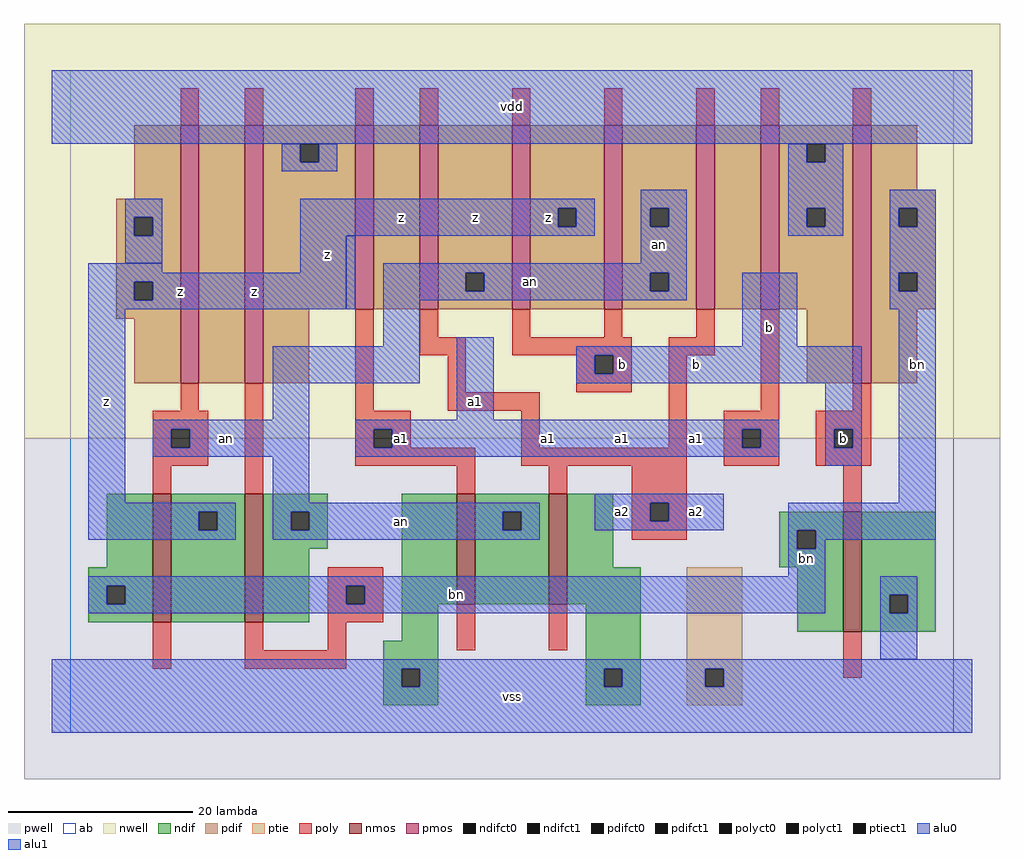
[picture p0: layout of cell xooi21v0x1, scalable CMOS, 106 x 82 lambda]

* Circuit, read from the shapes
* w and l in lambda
.subckt xooi21v0x1 a1 a2 an b bn vdd vss z
M1 z an bn vss nfet w=14 l=2
M2 an bn z vss nfet w=14 l=2
M3 an a1 vss vss nfet w=12 l=2
M4 vss a2 an vss nfet w=12 l=2
M5 vss b bn vss nfet w=13 l=2
M6 n1 an z n2 pfet w=28 l=2
M7 vdd bn n1 n2 pfet w=28 l=2
M8 n3 a1 vdd n2 pfet w=20 l=2
M9 an a2 n3 n2 pfet w=20 l=2
M10 z b an n2 pfet w=20 l=2 m=2
M11 n4 a2 an n2 pfet w=20 l=2
M12 vdd a1 n4 n2 pfet w=20 l=2
M13 bn b vdd n2 pfet w=28 l=2
.ends

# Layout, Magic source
magic
tech scmos
<< ab >>
rect 0 0 96 72
<< nwell >>
rect -5 32 101 77
<< pwell >>
rect -5 -5 101 32
<< poly >>
rect 12 66 14 70
rect 19 66 21 70
rect 31 66 33 70
rect 38 66 40 70
rect 48 66 50 70
rect 58 66 60 70
rect 68 66 70 70
rect 75 66 77 70
rect 85 66 87 70
rect 12 35 14 38
rect 9 33 15 35
rect 9 31 11 33
rect 13 31 15 33
rect 9 29 15 31
rect 9 26 11 29
rect 19 26 21 38
rect 31 35 33 46
rect 38 43 40 46
rect 48 43 50 46
rect 58 43 60 46
rect 68 43 70 46
rect 38 41 43 43
rect 48 41 61 43
rect 41 37 43 41
rect 55 39 57 41
rect 59 39 61 41
rect 55 37 61 39
rect 65 41 70 43
rect 41 35 51 37
rect 31 33 37 35
rect 31 31 33 33
rect 35 31 37 33
rect 49 31 51 35
rect 65 31 67 41
rect 75 35 77 46
rect 85 35 87 38
rect 31 29 44 31
rect 49 29 67 31
rect 71 33 77 35
rect 71 31 73 33
rect 75 31 77 33
rect 71 29 77 31
rect 81 33 87 35
rect 81 31 83 33
rect 85 31 87 33
rect 81 29 87 31
rect 42 26 44 29
rect 52 26 54 29
rect 28 16 34 18
rect 28 14 30 16
rect 32 14 34 16
rect 28 12 34 14
rect 61 25 67 29
rect 61 23 63 25
rect 65 23 67 25
rect 84 24 86 29
rect 61 21 67 23
rect 9 7 11 12
rect 19 9 21 12
rect 28 9 30 12
rect 19 7 30 9
rect 42 9 44 14
rect 52 9 54 14
rect 84 6 86 11
<< ndif >>
rect 4 18 9 26
rect 2 16 9 18
rect 2 14 4 16
rect 6 14 9 16
rect 2 12 9 14
rect 11 24 19 26
rect 11 22 14 24
rect 16 22 19 24
rect 11 12 19 22
rect 21 24 28 26
rect 21 22 24 24
rect 26 22 28 24
rect 21 20 28 22
rect 21 12 26 20
rect 36 14 42 26
rect 44 24 52 26
rect 44 22 47 24
rect 49 22 52 24
rect 44 14 52 22
rect 54 18 59 26
rect 77 22 84 24
rect 77 20 79 22
rect 81 20 84 22
rect 77 18 84 20
rect 54 14 62 18
rect 36 10 40 14
rect 34 7 40 10
rect 34 5 36 7
rect 38 5 40 7
rect 34 3 40 5
rect 56 7 62 14
rect 56 5 58 7
rect 60 5 62 7
rect 56 3 62 5
rect 79 11 84 18
rect 86 15 94 24
rect 86 13 89 15
rect 91 13 94 15
rect 86 11 94 13
<< pdif >>
rect 7 58 12 66
rect 5 56 12 58
rect 5 54 7 56
rect 9 54 12 56
rect 5 49 12 54
rect 5 47 7 49
rect 9 47 12 49
rect 5 45 12 47
rect 7 38 12 45
rect 14 38 19 66
rect 21 64 31 66
rect 21 62 25 64
rect 27 62 31 64
rect 21 46 31 62
rect 33 46 38 66
rect 40 50 48 66
rect 40 48 43 50
rect 45 48 48 50
rect 40 46 48 48
rect 50 57 58 66
rect 50 55 53 57
rect 55 55 58 57
rect 50 46 58 55
rect 60 57 68 66
rect 60 55 63 57
rect 65 55 68 57
rect 60 50 68 55
rect 60 48 63 50
rect 65 48 68 50
rect 60 46 68 48
rect 70 46 75 66
rect 77 64 85 66
rect 77 62 80 64
rect 82 62 85 64
rect 77 57 85 62
rect 77 55 80 57
rect 82 55 85 57
rect 77 46 85 55
rect 21 38 26 46
rect 80 38 85 46
rect 87 59 92 66
rect 87 57 94 59
rect 87 55 90 57
rect 92 55 94 57
rect 87 50 94 55
rect 87 48 90 50
rect 92 48 94 50
rect 87 46 94 48
rect 87 38 92 46
<< alu1 >>
rect -2 64 98 72
rect 2 50 10 51
rect 25 57 57 58
rect 25 55 53 57
rect 55 55 57 57
rect 25 54 57 55
rect 25 50 30 54
rect 2 49 30 50
rect 2 47 7 49
rect 9 47 30 49
rect 2 46 30 47
rect 2 25 6 46
rect 42 34 46 43
rect 73 42 79 50
rect 55 41 86 42
rect 55 39 57 41
rect 59 39 86 41
rect 55 38 86 39
rect 31 33 77 34
rect 31 31 33 33
rect 35 31 73 33
rect 75 31 77 33
rect 31 30 77 31
rect 82 33 86 38
rect 82 31 83 33
rect 85 31 86 33
rect 82 29 86 31
rect 57 25 71 26
rect 2 24 18 25
rect 2 22 14 24
rect 16 22 18 24
rect 2 21 18 22
rect 57 23 63 25
rect 65 23 71 25
rect 57 22 71 23
rect -2 7 98 8
rect -2 5 36 7
rect 38 5 58 7
rect 60 5 69 7
rect 71 5 98 7
rect -2 0 98 5
<< ptie >>
rect 67 7 73 18
rect 67 5 69 7
rect 71 5 73 7
rect 67 3 73 5
<< nmos >>
rect 9 12 11 26
rect 19 12 21 26
rect 42 14 44 26
rect 52 14 54 26
rect 84 11 86 24
<< pmos >>
rect 12 38 14 66
rect 19 38 21 66
rect 31 46 33 66
rect 38 46 40 66
rect 48 46 50 66
rect 58 46 60 66
rect 68 46 70 66
rect 75 46 77 66
rect 85 38 87 66
<< polyct0 >>
rect 11 31 13 33
rect 30 14 32 16
<< polyct1 >>
rect 57 39 59 41
rect 33 31 35 33
rect 73 31 75 33
rect 83 31 85 33
rect 63 23 65 25
<< ndifct0 >>
rect 4 14 6 16
rect 24 22 26 24
rect 47 22 49 24
rect 79 20 81 22
rect 89 13 91 15
<< ndifct1 >>
rect 14 22 16 24
rect 36 5 38 7
rect 58 5 60 7
<< ptiect1 >>
rect 69 5 71 7
<< pdifct0 >>
rect 7 54 9 56
rect 25 62 27 64
rect 43 48 45 50
rect 63 55 65 57
rect 63 48 65 50
rect 80 62 82 64
rect 80 55 82 57
rect 90 55 92 57
rect 90 48 92 50
<< pdifct1 >>
rect 7 47 9 49
rect 53 55 55 57
<< alu0 >>
rect 23 62 25 64
rect 27 62 29 64
rect 23 61 29 62
rect 78 62 80 64
rect 82 62 84 64
rect 6 56 10 58
rect 6 54 7 56
rect 9 54 10 56
rect 6 51 10 54
rect 62 57 67 59
rect 62 55 63 57
rect 65 55 67 57
rect 30 46 31 54
rect 62 51 67 55
rect 78 57 84 62
rect 78 55 80 57
rect 82 55 84 57
rect 78 54 84 55
rect 89 57 94 59
rect 89 55 90 57
rect 92 55 94 57
rect 34 50 67 51
rect 89 50 94 55
rect 34 48 43 50
rect 45 48 63 50
rect 65 48 67 50
rect 34 47 67 48
rect 34 42 38 47
rect 22 38 38 42
rect 22 34 26 38
rect 89 48 90 50
rect 92 48 94 50
rect 89 46 94 48
rect 9 33 26 34
rect 9 31 11 33
rect 13 31 26 33
rect 9 30 26 31
rect 22 25 26 30
rect 90 25 94 46
rect 22 24 51 25
rect 22 22 24 24
rect 26 22 47 24
rect 49 22 51 24
rect 78 22 94 25
rect 22 21 51 22
rect 78 20 79 22
rect 81 21 94 22
rect 81 20 82 21
rect 78 17 82 20
rect 2 16 82 17
rect 2 14 4 16
rect 6 14 30 16
rect 32 14 82 16
rect 2 13 82 14
rect 88 15 92 17
rect 88 13 89 15
rect 91 13 92 15
rect 88 8 92 13
<< labels >>
rlabel alu0 17 32 17 32 6 an
rlabel alu0 36 23 36 23 6 an
rlabel alu0 50 49 50 49 6 an
rlabel alu0 64 53 64 53 6 an
rlabel alu0 42 15 42 15 6 bn
rlabel alu0 80 19 80 19 6 bn
rlabel alu0 92 40 92 40 6 bn
rlabel alu1 4 36 4 36 6 z
rlabel alu1 20 48 20 48 6 z
rlabel alu1 12 48 12 48 6 z
rlabel alu1 36 32 36 32 6 a1
rlabel alu1 44 36 44 36 6 a1
rlabel alu1 28 52 28 52 6 z
rlabel alu1 44 56 44 56 6 z
rlabel alu1 36 56 36 56 6 z
rlabel alu1 48 4 48 4 6 vss
rlabel alu1 52 32 52 32 6 a1
rlabel alu1 60 32 60 32 6 a1
rlabel alu1 68 32 68 32 6 a1
rlabel alu1 68 24 68 24 6 a2
rlabel alu1 60 24 60 24 6 a2
rlabel alu1 60 40 60 40 6 b
rlabel alu1 68 40 68 40 6 b
rlabel alu1 52 56 52 56 6 z
rlabel alu1 48 68 48 68 6 vdd
rlabel polyct1 84 32 84 32 6 b
rlabel alu1 76 44 76 44 6 b
<< end >>
